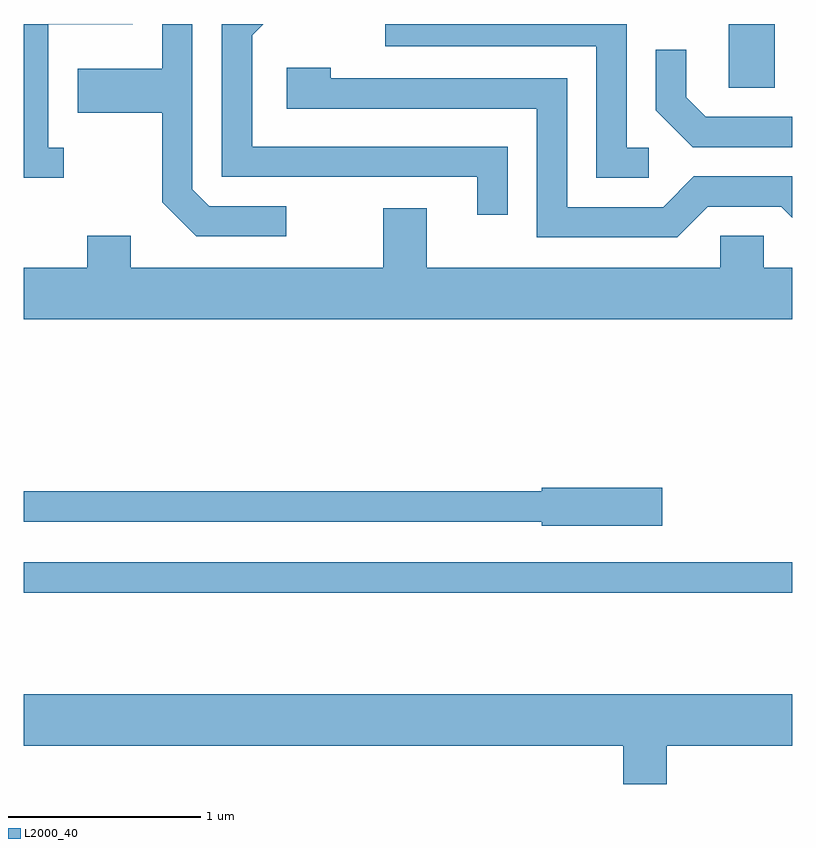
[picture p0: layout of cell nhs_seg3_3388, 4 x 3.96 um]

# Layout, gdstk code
import gdstk
lib = gdstk.Library(unit=1e-6, precision=1e-09)
def R(c, l, rs):  # rectangles x0, y0, x1, y1
    for r in rs: c.add(gdstk.rectangle(r[:2], r[2:], *l))
def P(c, l, *ps):  # polygons
    for p in ps: c.add(gdstk.Polygon(p, *l))
L2000_40 = (2000, 40)

nhs_seg3_3388 = lib.new_cell('nhs_seg3_3388')
R(nhs_seg3_3388, L2000_40, [(283.611,1228.931,287.611,1229.089), (287.281,1231.561,287.519,1231.892)])
P(nhs_seg3_3388, L2000_40, [(286.863,1231.249),(286.749,1231.249),(286.749,1231.892),(285.493,1231.892),(285.493,1231.776),(286.591,1231.776),(286.591,1231.091),(286.863,1231.091)],
  [(284.978,1230.944),(284.577,1230.944),(284.489,1231.032),(284.489,1231.892),(284.331,1231.892),(284.331,1231.659),(283.891,1231.659),(283.891,1231.431),(284.331,1231.431),(284.331,1230.964),(284.509,1230.786),(284.978,1230.786)],
  [(283.818,1231.249),(283.739,1231.249),(283.739,1231.891),(284.179,1231.891),(284.179,1231.892),(283.611,1231.892),(283.611,1231.091),(283.818,1231.091)],
  [(286.129,1231.254),(284.799,1231.254),(284.799,1231.834),(284.858,1231.892),(284.641,1231.892),(284.641,1231.096),(285.971,1231.096),(285.971,1230.898),(286.129,1230.898)],
  [(287.611,1231.409),(287.162,1231.409),(287.059,1231.512),(287.059,1231.758),(286.901,1231.758),(286.901,1231.444),(287.094,1231.251),(287.611,1231.251)],
  [(287.172,1230.941),(287.554,1230.941),(287.611,1230.884),(287.611,1231.099),(287.099,1231.099),(286.939,1230.939),(286.439,1230.939),(286.439,1231.609),(285.209,1231.609),(285.209,1231.664),(284.981,1231.664),(284.981,1231.451),(286.281,1231.451),(286.281,1230.781),(287.012,1230.781)],
  [(287.611,1230.624),(287.464,1230.624),(287.464,1230.789),(287.236,1230.789),(287.236,1230.624),(285.709,1230.624),(285.709,1230.934),(285.481,1230.934),(285.481,1230.624),(284.169,1230.624),(284.169,1230.789),(283.941,1230.789),(283.941,1230.624),(283.611,1230.624),(283.611,1230.356),(287.611,1230.356)],
  [(286.934,1229.479),(286.306,1229.479),(286.306,1229.459),(283.611,1229.459),(283.611,1229.301),(286.306,1229.301),(286.306,1229.281),(286.934,1229.281)],
  [(286.959,1228.136),(287.611,1228.136),(287.611,1228.404),(283.611,1228.404),(283.611,1228.136),(286.731,1228.136),(286.731,1227.936),(286.959,1227.936)])

lib.write_gds('nhs_seg3_3388.gds')
